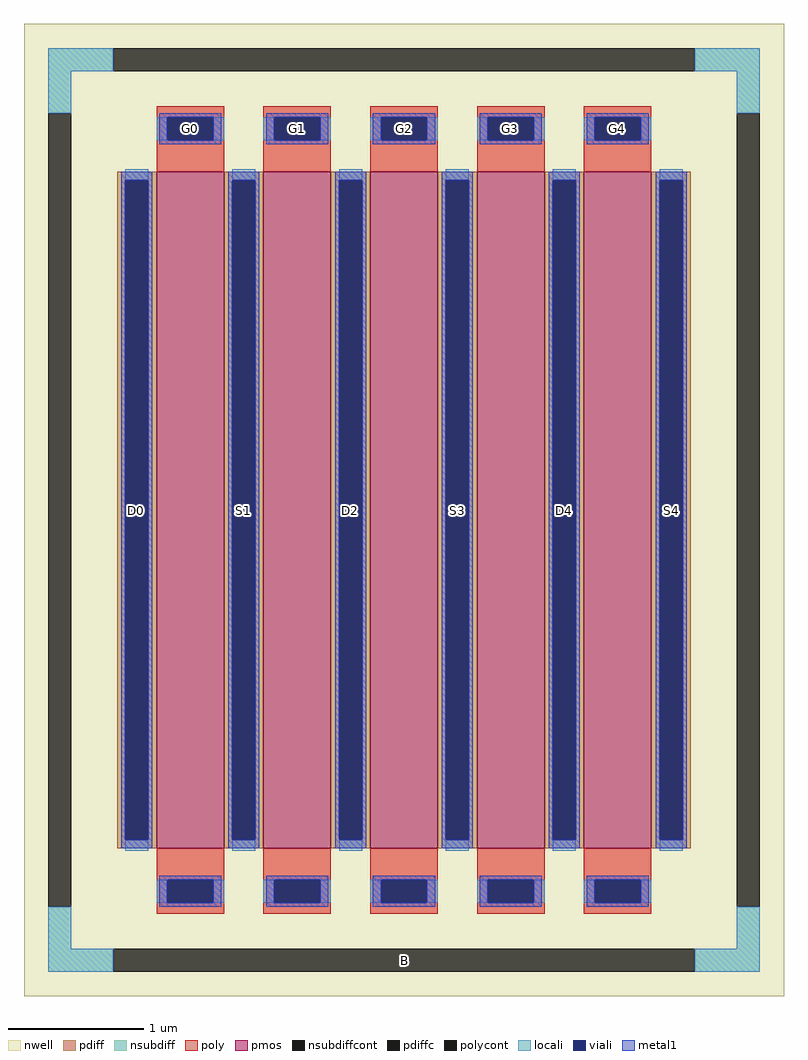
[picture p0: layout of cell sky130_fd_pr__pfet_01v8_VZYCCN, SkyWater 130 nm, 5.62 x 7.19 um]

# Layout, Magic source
magic
tech sky130A
magscale 1 2
<< nwell >>
rect -562 -719 562 719
<< pmos >>
rect -366 -500 -266 500
rect -208 -500 -108 500
rect -50 -500 50 500
rect 108 -500 208 500
rect 266 -500 366 500
<< pdiff >>
rect -424 488 -366 500
rect -424 -488 -412 488
rect -378 -488 -366 488
rect -424 -500 -366 -488
rect -266 488 -208 500
rect -266 -488 -254 488
rect -220 -488 -208 488
rect -266 -500 -208 -488
rect -108 488 -50 500
rect -108 -488 -96 488
rect -62 -488 -50 488
rect -108 -500 -50 -488
rect 50 488 108 500
rect 50 -488 62 488
rect 96 -488 108 488
rect 50 -500 108 -488
rect 208 488 266 500
rect 208 -488 220 488
rect 254 -488 266 488
rect 208 -500 266 -488
rect 366 488 424 500
rect 366 -488 378 488
rect 412 -488 424 488
rect 366 -500 424 -488
<< pdiffc >>
rect -412 -488 -378 488
rect -254 -488 -220 488
rect -96 -488 -62 488
rect 62 -488 96 488
rect 220 -488 254 488
rect 378 -488 412 488
<< nsubdiff >>
rect -526 649 -430 683
rect 430 649 526 683
rect -526 587 -492 649
rect 492 587 526 649
rect -526 -649 -492 -587
rect 492 -649 526 -587
rect -526 -683 -430 -649
rect 430 -683 526 -649
<< nsubdiffcont >>
rect -430 649 430 683
rect -526 -587 -492 587
rect 492 -587 526 587
rect -430 -683 430 -649
<< poly >>
rect -366 581 -266 597
rect -366 547 -350 581
rect -282 547 -266 581
rect -366 500 -266 547
rect -208 581 -108 597
rect -208 547 -192 581
rect -124 547 -108 581
rect -208 500 -108 547
rect -50 581 50 597
rect -50 547 -34 581
rect 34 547 50 581
rect -50 500 50 547
rect 108 581 208 597
rect 108 547 124 581
rect 192 547 208 581
rect 108 500 208 547
rect 266 581 366 597
rect 266 547 282 581
rect 350 547 366 581
rect 266 500 366 547
rect -366 -547 -266 -500
rect -366 -581 -350 -547
rect -282 -581 -266 -547
rect -366 -597 -266 -581
rect -208 -547 -108 -500
rect -208 -581 -192 -547
rect -124 -581 -108 -547
rect -208 -597 -108 -581
rect -50 -547 50 -500
rect -50 -581 -34 -547
rect 34 -581 50 -547
rect -50 -597 50 -581
rect 108 -547 208 -500
rect 108 -581 124 -547
rect 192 -581 208 -547
rect 108 -597 208 -581
rect 266 -547 366 -500
rect 266 -581 282 -547
rect 350 -581 366 -547
rect 266 -597 366 -581
<< polycont >>
rect -350 547 -282 581
rect -192 547 -124 581
rect -34 547 34 581
rect 124 547 192 581
rect 282 547 350 581
rect -350 -581 -282 -547
rect -192 -581 -124 -547
rect -34 -581 34 -547
rect 124 -581 192 -547
rect 282 -581 350 -547
<< locali >>
rect -526 649 -430 683
rect 430 649 526 683
rect -526 587 -492 649
rect 492 587 526 649
rect -366 547 -350 581
rect -282 547 -266 581
rect -208 547 -192 581
rect -124 547 -108 581
rect -50 547 -34 581
rect 34 547 50 581
rect 108 547 124 581
rect 192 547 208 581
rect 266 547 282 581
rect 350 547 366 581
rect -412 488 -378 504
rect -412 -504 -378 -488
rect -254 488 -220 504
rect -254 -504 -220 -488
rect -96 488 -62 504
rect -96 -504 -62 -488
rect 62 488 96 504
rect 62 -504 96 -488
rect 220 488 254 504
rect 220 -504 254 -488
rect 378 488 412 504
rect 378 -504 412 -488
rect -366 -581 -350 -547
rect -282 -581 -266 -547
rect -208 -581 -192 -547
rect -124 -581 -108 -547
rect -50 -581 -34 -547
rect 34 -581 50 -547
rect 108 -581 124 -547
rect 192 -581 208 -547
rect 266 -581 282 -547
rect 350 -581 366 -547
rect -526 -649 -492 -587
rect 492 -649 526 -587
rect -526 -683 -430 -649
rect 430 -683 526 -649
<< viali >>
rect -350 547 -282 581
rect -192 547 -124 581
rect -34 547 34 581
rect 124 547 192 581
rect 282 547 350 581
rect -412 -488 -378 488
rect -254 -488 -220 488
rect -96 -488 -62 488
rect 62 -488 96 488
rect 220 -488 254 488
rect 378 -488 412 488
rect -350 -581 -282 -547
rect -192 -581 -124 -547
rect -34 -581 34 -547
rect 124 -581 192 -547
rect 282 -581 350 -547
<< metal1 >>
rect -362 581 -270 587
rect -362 547 -350 581
rect -282 547 -270 581
rect -362 541 -270 547
rect -204 581 -112 587
rect -204 547 -192 581
rect -124 547 -112 581
rect -204 541 -112 547
rect -46 581 46 587
rect -46 547 -34 581
rect 34 547 46 581
rect -46 541 46 547
rect 112 581 204 587
rect 112 547 124 581
rect 192 547 204 581
rect 112 541 204 547
rect 270 581 362 587
rect 270 547 282 581
rect 350 547 362 581
rect 270 541 362 547
rect -418 488 -372 500
rect -418 -488 -412 488
rect -378 -488 -372 488
rect -418 -500 -372 -488
rect -260 488 -214 500
rect -260 -488 -254 488
rect -220 -488 -214 488
rect -260 -500 -214 -488
rect -102 488 -56 500
rect -102 -488 -96 488
rect -62 -488 -56 488
rect -102 -500 -56 -488
rect 56 488 102 500
rect 56 -488 62 488
rect 96 -488 102 488
rect 56 -500 102 -488
rect 214 488 260 500
rect 214 -488 220 488
rect 254 -488 260 488
rect 214 -500 260 -488
rect 372 488 418 500
rect 372 -488 378 488
rect 412 -488 418 488
rect 372 -500 418 -488
rect -362 -547 -270 -541
rect -362 -581 -350 -547
rect -282 -581 -270 -547
rect -362 -587 -270 -581
rect -204 -547 -112 -541
rect -204 -581 -192 -547
rect -124 -581 -112 -547
rect -204 -587 -112 -581
rect -46 -547 46 -541
rect -46 -581 -34 -547
rect 34 -581 46 -547
rect -46 -587 46 -581
rect 112 -547 204 -541
rect 112 -581 124 -547
rect 192 -581 204 -547
rect 112 -587 204 -581
rect 270 -547 362 -541
rect 270 -581 282 -547
rect 350 -581 362 -547
rect 270 -587 362 -581
<< labels >>
rlabel nsubdiffcont 0 -666 0 -666 0 B
port 1 nsew
rlabel pdiffc -395 0 -395 0 0 D0
port 2 nsew
rlabel polycont -316 564 -316 564 0 G0
port 3 nsew
rlabel pdiffc -237 0 -237 0 0 S1
port 4 nsew
rlabel polycont -158 564 -158 564 0 G1
port 5 nsew
rlabel pdiffc -79 0 -79 0 0 D2
port 6 nsew
rlabel polycont 0 564 0 564 0 G2
port 7 nsew
rlabel pdiffc 79 0 79 0 0 S3
port 8 nsew
rlabel polycont 158 564 158 564 0 G3
port 9 nsew
rlabel pdiffc 237 0 237 0 0 D4
port 10 nsew
rlabel pdiffc 395 0 395 0 0 S4
port 11 nsew
rlabel polycont 316 564 316 564 0 G4
port 12 nsew
<< properties >>
string FIXED_BBOX -509 -666 509 666
string gencell sky130_fd_pr__pfet_01v8
string library sky130
string parameters w 5 l 0.5 m 1 nf 5 diffcov 100 polycov 100 guard 1 glc 1 grc 1 gtc 1 gbc 1 tbcov 100 rlcov 100 topc 1 botc 1 poverlap 0 doverlap 1 lmin 0.15 wmin 0.42 class mosfet compatible {sky130_fd_pr__pfet_01v8  sky130_fd_pr__pfet_01v8_lvt sky130_fd_pr__pfet_01v8_hvt  sky130_fd_pr__pfet_g5v0d10v5} full_metal 1 conn_gates 0 viasrc 100 viadrn 100 viagate 100 viagb 0 viagr 0 viagl 0 viagt 0 doports 1
<< end >>
